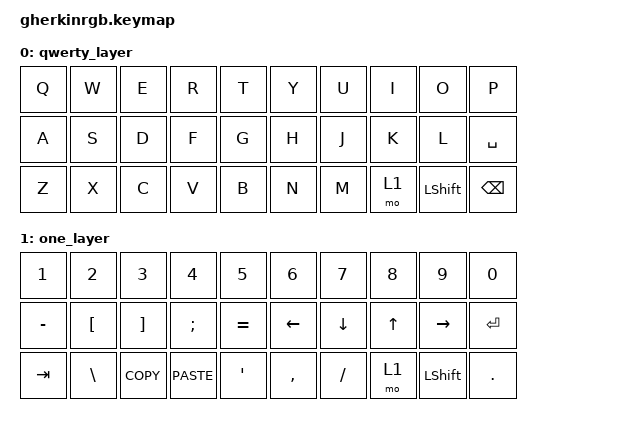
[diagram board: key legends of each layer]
/*
 * Copyright (c) 2021-22 purple-rw
 *
 * SPDX-License-Identifier: MIT
 */

#include <behaviors.dtsi>
#include <dt-bindings/zmk/keys.h>
#include <dt-bindings/zmk/bt.h>
#include <dt-bindings/zmk/outputs.h>
#include <dt-bindings/zmk/rgb.h>
#include <dt-bindings/zmk/backlight.h>

#define BASE  0     // alphas (Colemak-DH)
#define QWRTY 1     // alphas (Qwerty)

// Special keys
#define ZOOMOUT      LA(LG(MINUS))
#define ZOOMIN       LA(LG(EQUAL))
#define M_UNDO       LG(Z)
#define M_CUT        LG(X)
#define M_COPY       LG(C)
#define M_PASTE      LG(V)
#define M_SELALL     LG(A)
#define M_TMUX       LC(T)
#define NON_US_TILDE LS(NON_US_HASH)
#define NON_US_PIPE  LS(NON_US_BSLH)

&lt {
    tapping-term-ms = <200>;
    quick_tap_ms = <200>;
    flavor = "balanced";
};

&sk {
    release-after-ms = <3000>;
};

&caps_word {
    continue-list = <UNDERSCORE BACKSPACE DELETE MINUS DOT>;
};

/ {
 

    keymap {
        compatible = "zmk,keymap";



        qwerty_layer {
// Qwerty
// -------------------------------------------------------------
// |  Q  |  W  |  E  |  R  |  T  |  Y  |  U  |  I  |  O  |  P  |
// |  A  |  S  |  D  |  F  |  G  |  H  |  J  |  K  |  L  |Space|
// |  Z  |  X  |  C  |  V  |  B  |  N  |  M  | mo 1 |LSHFT| BSPC|
// -------------------------------------------------------------
            bindings = < 
    &kp Q       &kp W       &kp E       &kp R       &kp T         &kp Y      &kp U       &kp I       &kp O       &kp P
    &kp A       &kp S       &kp D       &kp F       &kp G         &kp H      &kp J       &kp K       &kp L       &kp SPACE
    &kp Z       &kp X       &kp C       &kp V       &kp B         &kp N      &kp M       &mo 1       &kp LSHFT   &kp BSPC
            >;
        } ;

        one_layer {
// one layer
// -------------------------------------------------------------
// |  1  |  2  |  3  |  4  |  5  |  6  |  7  |  8  |  9  |  0  |
// |  -  | bra | bra |  ;  |  =  |left |down | up  |right|enter|
// | tab |  \  |copy |paste|  '  |  ,  |  /  | mod |shift|  .  |
// -------------------------------------------------------------
            bindings = < 
    &kp N1       &kp N2     &kp N3      &kp N4        &kp N5       &kp N6       &kp N7      &kp N8     &kp N9       &kp N0
    &kp MINUS    &kp LBKT   &kp RBKT    &kp SEMI      &kp EQUAL    &kp LEFT     &kp DOWN    &kp UP     &kp RIGHT    &kp ENTER
    &kp TAB      &kp BSLH   &kp K_COPY  &kp K_PASTE   &kp SQT      &kp COMMA    &kp FSLH    &mo 1      &kp LSHFT    &kp DOT
            >;
        } ;

    };
};
